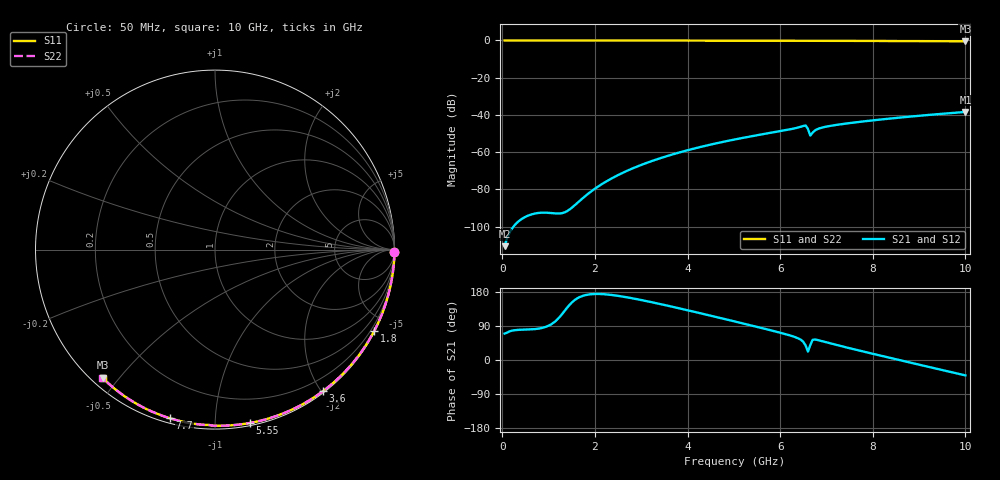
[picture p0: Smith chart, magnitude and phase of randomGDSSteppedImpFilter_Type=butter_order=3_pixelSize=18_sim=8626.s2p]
! freq	dB(S11)	phase(S11)	dB(S12)	phase(S12)
!  dB(S21)	phase(S21)	dB(S22)	phase(S22)
!S-par simulation data
#  GHz  S  DB  R 50
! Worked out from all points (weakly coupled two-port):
!   200 points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, 50 MHz to 10 GHz, reference 50 ohm
!   highest |S21| = -38.41 dB at 10 GHz (marker M1); lowest = -110.5 dB at 50 MHz (marker M2)
!   lowest |S11| = -0.4 dB at 10 GHz (marker M3), VSWR 39.16, Z = 1.54 - j22.6 ohm
!   |S11| at or under -10 dB: nowhere
!   |S22| runs from -0.4 to 0.0 dB; largest |S21 - S12| = 0
!   S11 on the Smith chart (normalised r, x): 50 MHz: open; 1.8 GHz: 0.04, -4.18; 3.6 GHz: 0.02, -2.02; 5.55 GHz: 0.02, -1.22; 7.7 GHz: 0.02, -0.77; 10 GHz: 0.03, -0.45
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0.05  -0.00 -0.8  -110.51 69.7  -110.51 69.7  -0.00 -0.8
0.9  -0.02 -13.6  -92.51 85.9  -92.51 85.9  -0.02 -13.6
1.75  -0.03 -26.2  -84.46 169.7  -84.46 169.7  -0.03 -26.2
1.8  -0.03 -26.9  -83.42 171.3  -83.42 171.3  -0.03 -26.9
2  -0.04 -29.8  -79.65 174.3  -79.65 174.3  -0.04 -29.8
2.35  -0.04 -34.9  -74.25 171.7  -74.25 171.7  -0.04 -34.9
2.65  -0.05 -39.2  -70.52 166.3  -70.52 166.3  -0.05 -39.2
3.4  -0.07 -49.8  -63.34 148.0  -63.34 148.0  -0.07 -49.8
3.6  -0.07 -52.6  -61.78 142.5  -61.78 142.5  -0.07 -52.6
4.3  -0.09 -62.2  -57.09 122.7  -57.09 122.7  -0.09 -62.2
5.05  -0.11 -72.1  -53.03 100.8  -53.03 100.8  -0.11 -72.1
5.55  -0.13 -78.6  -50.69 85.9  -50.69 85.9  -0.13 -78.6
6.2  -0.15 -86.8  -47.80 65.3  -47.80 65.3  -0.15 -86.8
6.55  -0.18 -91.2  -45.70 38.4  -45.70 38.4  -0.18 -91.2
6.6  -0.19 -91.8  -47.54 22.2  -47.54 22.2  -0.19 -91.8
6.65  -0.20 -92.3  -51.09 39.0  -51.09 39.0  -0.20 -92.3
6.7  -0.19 -92.9  -49.56 53.0  -49.56 53.0  -0.19 -92.9
6.8  -0.19 -94.2  -47.67 53.0  -47.67 53.0  -0.19 -94.2
6.95  -0.20 -96.0  -46.53 48.1  -46.53 48.1  -0.20 -96.0
7.7  -0.24 -104.9  -43.78 25.2  -43.78 25.2  -0.24 -104.9
8.35  -0.29 -112.5  -42.00 6.3  -42.00 6.3  -0.29 -112.5
10  -0.44 -131.3  -38.41 -40.6  -38.41 -40.6  -0.44 -131.3
